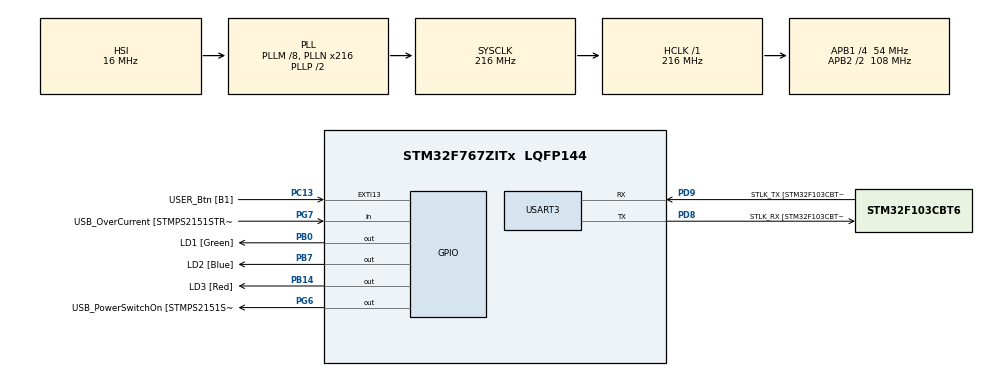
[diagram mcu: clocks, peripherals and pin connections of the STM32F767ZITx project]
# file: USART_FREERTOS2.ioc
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FREERTOS.Queues01=Queue1,16,queue_t,0,Dynamic,NULL,NULL;Queue2,16,queue_t,0,Dynamic,NULL,NULL;Queue3,16,queue_t,0,Dynamic,NULL,NULL
FREERTOS.Tasks01=defaultTask,24,128,StartDefaultTask,Default,NULL,Dynamic,NULL,NULL;Task1,8,128,StartTask1,Default,NULL,Dynamic,NULL,NULL;Task2,8,128,StartTask2,Default,NULL,Dynamic,NULL,NULL;Task3,8,128,StartTask3,Default,NULL,Dynamic,NULL,NULL;TaskReceive,8,128,StartTaskReceive,Default,NULL,Dynamic,NULL,NULL
Mcu.Family=STM32F7
Mcu.Name=STM32F767ZITx
Mcu.Package=LQFP144
NVIC.PriorityGroup=NVIC_PRIORITYGROUP_4
NVIC.TIM5_IRQn=true\:15\:0\:false\:false\:true\:false\:false\:true
NVIC.TimeBase=TIM5_IRQn
NVIC.TimeBaseIP=TIM5
NVIC.USART3_IRQn=true\:5\:0\:false\:false\:true\:true\:true\:true
PA1.GPIO_Label=RMII_REF_CLK [LAN8742A-CZ-TR_REFCLK0]
PA1.Signal=ETH_REF_CLK
PA10.GPIO_Label=USB_ID
PA10.Signal=USB_OTG_FS_ID
PA11.GPIO_Label=USB_DM
PA11.Signal=USB_OTG_FS_DM
PA12.GPIO_Label=USB_DP
PA12.Signal=USB_OTG_FS_DP
PA13.GPIO_Label=TMS
PA13.Mode=Serial_Wire
PA13.Signal=SYS_JTMS-SWDIO
PA14.GPIO_Label=TCK
PA14.Mode=Serial_Wire
PA14.Signal=SYS_JTCK-SWCLK
PA2.GPIO_Label=RMII_MDIO [LAN8742A-CZ-TR_MDIO]
PA2.Signal=ETH_MDIO
PA7.GPIO_Label=RMII_CRS_DV [LAN8742A-CZ-TR_CRS_DV]
PA7.Signal=ETH_CRS_DV
PA8.GPIO_Label=USB_SOF [TP1]
PA8.Signal=USB_OTG_FS_SOF
PA9.GPIO_Label=USB_VBUS
PA9.Signal=USB_OTG_FS_VBUS
PB0.GPIO_Label=LD1 [Green]
PB0.Signal=GPIO_Output
PB13.GPIO_Label=RMII_TXD1 [LAN8742A-CZ-TR_TXD1]
PB13.Signal=ETH_TXD1
PB14.GPIO_Label=LD3 [Red]
PB14.Signal=GPIO_Output
PB3.GPIO_Label=SW0
PB3.Signal=SYS_JTDO-SWO
PB7.GPIO_Label=LD2 [Blue]
PB7.Signal=GPIO_Output
PC1.GPIO_Label=RMII_MDC [LAN8742A-CZ-TR_MDC]
PC1.Signal=ETH_MDC
PC13.GPIO_Label=USER_Btn [B1]
PC13.Signal=GPXTI13
PC14/OSC32_IN.Signal=RCC_OSC32_IN
PC15/OSC32_OUT.Signal=RCC_OSC32_OUT
PC4.GPIO_Label=RMII_RXD0 [LAN8742A-CZ-TR_RXD0]
PC4.Signal=ETH_RXD0
PC5.GPIO_Label=RMII_RXD1 [LAN8742A-CZ-TR_RXD1]
PC5.Signal=ETH_RXD1
PD8.GPIO_Label=STLK_RX [STM32F103CBT6_PA3]
PD8.Mode=Asynchronous
PD8.Signal=USART3_TX
PD9.GPIO_Label=STLK_TX [STM32F103CBT6_PA2]
PD9.Mode=Asynchronous
PD9.Signal=USART3_RX
PG11.GPIO_Label=RMII_TX_EN [LAN8742A-CZ-TR_TXEN]
PG11.Signal=ETH_TX_EN
PG13.GPIO_Label=RMII_TXD0 [LAN8742A-CZ-TR_TXD0]
PG13.Signal=ETH_TXD0
PG6.GPIO_Label=USB_PowerSwitchOn [STMPS2151STR_EN]
PG6.Signal=GPIO_Output
PG7.GPIO_Label=USB_OverCurrent [STMPS2151STR_FAULT]
PG7.Signal=GPIO_Input
PH0/OSC_IN.GPIO_Label=MCO [STM32F103CBT6_PA8]
PH0/OSC_IN.Mode=HSE-External-Oscillator
PH0/OSC_IN.Signal=RCC_OSC_IN
PH1/OSC_OUT.Mode=HSE-External-Oscillator
PH1/OSC_OUT.Signal=RCC_OSC_OUT
ProjectManager.HeapSize=0x200
ProjectManager.StackSize=0x400
ProjectManager.TargetToolchain=STM32CubeIDE
RCC.48MHZClocksFreq_Value=24000000
RCC.AHBFreq_Value=216000000
RCC.APB1CLKDivider=RCC_HCLK_DIV4
RCC.APB1Freq_Value=54000000
RCC.APB1TimFreq_Value=108000000
RCC.APB2CLKDivider=RCC_HCLK_DIV2
RCC.APB2Freq_Value=108000000
RCC.APB2TimFreq_Value=216000000
RCC.CortexFreq_Value=216000000
RCC.HCLKFreq_Value=216000000
RCC.HSE_VALUE=16000000
RCC.HSI_VALUE=16000000
RCC.LSE_VALUE=32768
RCC.PLLM=8
RCC.PLLMUL=RCC_PLL_MUL9
RCC.PLLN=216
RCC.PRESCALERUSB=RCC_USBCLKSOURCE_PLL_DIV1_5
RCC.SYSCLKFreq_VALUE=216000000
RCC.SYSCLKSource=RCC_SYSCLKSOURCE_PLLCLK
RCC.SYSCLKSourceVirtual=RCC_SYSCLKSOURCE_PLLCLK
RCC.USBFreq_Value=216000000
RCC.VCOOutputFreq_Value=432000000
USART3.VirtualMode-Asynchronous=VM_ASYNC
VP_FREERTOS_VS_CMSIS_V2.Mode=CMSIS_V2
VP_SYS_VS_tim5.Mode=TIM5
board=NUCLEO-F767ZI

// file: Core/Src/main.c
/* USER CODE BEGIN Header */
/**
  ******************************************************************************
  * @file           : main.c
  * @brief          : Main program body
  ******************************************************************************
  * @attention
  *
  * Copyright (c) 2022 STMicroelectronics.
  * All rights reserved.
  *
  * This software is licensed under terms that can be found in the LICENSE file
  * in the root directory of this software component.
  * If no LICENSE file comes with this software, it is provided AS-IS.
  *
  ******************************************************************************
  */
/* USER CODE END Header */
#include "main.h"
#include "cmsis_os.h"

/* USER CODE BEGIN Includes */
#include "ctype.h"
#include "string.h"
/* USER CODE END Includes */

/* USER CODE BEGIN PTD */
typedef struct
{
    char Buf[5];
} queue_t;
/* USER CODE END PTD */

UART_HandleTypeDef huart3;

/* Definitions for defaultTask */
osThreadId_t defaultTaskHandle;
const osThreadAttr_t defaultTask_attributes = {
  .name = "defaultTask",
  .stack_size = 128 * 4,
  .priority = (osPriority_t) osPriorityNormal,
};
/* Definitions for Task1 */
osThreadId_t Task1Handle;
const osThreadAttr_t Task1_attributes = {
  .name = "Task1",
  .stack_size = 128 * 4,
  .priority = (osPriority_t) osPriorityLow,
};
/* Definitions for Task2 */
osThreadId_t Task2Handle;
const osThreadAttr_t Task2_attributes = {
  .name = "Task2",
  .stack_size = 128 * 4,
  .priority = (osPriority_t) osPriorityLow,
};
/* Definitions for Task3 */
osThreadId_t Task3Handle;
const osThreadAttr_t Task3_attributes = {
  .name = "Task3",
  .stack_size = 128 * 4,
  .priority = (osPriority_t) osPriorityLow,
};
/* Definitions for TaskReceive */
osThreadId_t TaskReceiveHandle;
const osThreadAttr_t TaskReceive_attributes = {
  .name = "TaskReceive",
  .stack_size = 128 * 4,
  .priority = (osPriority_t) osPriorityLow,
};
/* Definitions for Queue1 */
osMessageQueueId_t Queue1Handle;
const osMessageQueueAttr_t Queue1_attributes = {
  .name = "Queue1"
};
/* Definitions for Queue2 */
osMessageQueueId_t Queue2Handle;
const osMessageQueueAttr_t Queue2_attributes = {
  .name = "Queue2"
};
/* Definitions for Queue3 */
osMessageQueueId_t Queue3Handle;
const osMessageQueueAttr_t Queue3_attributes = {
  .name = "Queue3"
};
/* USER CODE BEGIN PV */
char buf[5] = {0,};
uint8_t flag = 0;
/* USER CODE END PV */

void SystemClock_Config(void);
static void MX_GPIO_Init(void);
static void MX_USART3_UART_Init(void);
void StartDefaultTask(void *argument);
void StartTask1(void *argument);
void StartTask2(void *argument);
void StartTask3(void *argument);
void StartTaskReceive(void *argument);

/* USER CODE BEGIN 0 */
void HAL_UART_RxCpltCallback(UART_HandleTypeDef *huart)
{
    if (huart == &huart3)
      flag = 1;
}
/* USER CODE END 0 */

int main(void)
{

  /* MCU Configuration--------------------------------------------------------*/

  /* Reset of all peripherals, Initializes the Flash interface and the Systick. */
  HAL_Init();

  /* Configure the system clock */
  SystemClock_Config();

  /* Initialize all configured peripherals */
  MX_GPIO_Init();
  MX_USART3_UART_Init();

  /* Init scheduler */
  osKernelInitialize();

  /* Create the queue(s) */
  /* creation of Queue1 */
  Queue1Handle = osMessageQueueNew (16, sizeof(queue_t), &Queue1_attributes);

  /* creation of Queue2 */
  Queue2Handle = osMessageQueueNew (16, sizeof(queue_t), &Queue2_attributes);

  /* creation of Queue3 */
  Queue3Handle = osMessageQueueNew (16, sizeof(queue_t), &Queue3_attributes);

  /* Create the thread(s) */
  /* creation of defaultTask */
  defaultTaskHandle = osThreadNew(StartDefaultTask, NULL, &defaultTask_attributes);

  /* creation of Task1 */
  Task1Handle = osThreadNew(StartTask1, NULL, &Task1_attributes);

  /* creation of Task2 */
  Task2Handle = osThreadNew(StartTask2, NULL, &Task2_attributes);

  /* creation of Task3 */
  Task3Handle = osThreadNew(StartTask3, NULL, &Task3_attributes);

  /* creation of TaskReceive */
  TaskReceiveHandle = osThreadNew(StartTaskReceive, NULL, &TaskReceive_attributes);

  /* Start scheduler */
  osKernelStart();

  /* We should never get here as control is now taken by the scheduler */
  /* Infinite loop */
  while (1)
  {

  }
}

void SystemClock_Config(void)
{
  RCC_OscInitTypeDef RCC_OscInitStruct = {0};
  RCC_ClkInitTypeDef RCC_ClkInitStruct = {0};

  /** Configure the main internal regulator output voltage
  */
  __HAL_RCC_PWR_CLK_ENABLE();
  __HAL_PWR_VOLTAGESCALING_CONFIG(PWR_REGULATOR_VOLTAGE_SCALE1);
  /** Initializes the RCC Oscillators according to the specified parameters
  * in the RCC_OscInitTypeDef structure.
  */
  RCC_OscInitStruct.OscillatorType = RCC_OSCILLATORTYPE_HSI;
  RCC_OscInitStruct.HSIState = RCC_HSI_ON;
  RCC_OscInitStruct.HSICalibrationValue = RCC_HSICALIBRATION_DEFAULT;
  RCC_OscInitStruct.PLL.PLLState = RCC_PLL_ON;
  RCC_OscInitStruct.PLL.PLLSource = RCC_PLLSOURCE_HSI;
  RCC_OscInitStruct.PLL.PLLM = 8;
  RCC_OscInitStruct.PLL.PLLN = 216;
  RCC_OscInitStruct.PLL.PLLP = RCC_PLLP_DIV2;
  RCC_OscInitStruct.PLL.PLLQ = 2;
  RCC_OscInitStruct.PLL.PLLR = 2;
  if (HAL_RCC_OscConfig(&RCC_OscInitStruct) != HAL_OK)
  {
    Error_Handler();
  }
  /** Activate the Over-Drive mode
  */
  if (HAL_PWREx_EnableOverDrive() != HAL_OK)
  {
    Error_Handler();
  }
  /** Initializes the CPU, AHB and APB buses clocks
  */
  RCC_ClkInitStruct.ClockType = RCC_CLOCKTYPE_HCLK|RCC_CLOCKTYPE_SYSCLK
                              |RCC_CLOCKTYPE_PCLK1|RCC_CLOCKTYPE_PCLK2;
  RCC_ClkInitStruct.SYSCLKSource = RCC_SYSCLKSOURCE_PLLCLK;
  RCC_ClkInitStruct.AHBCLKDivider = RCC_SYSCLK_DIV1;
  RCC_ClkInitStruct.APB1CLKDivider = RCC_HCLK_DIV4;
  RCC_ClkInitStruct.APB2CLKDivider = RCC_HCLK_DIV2;

  if (HAL_RCC_ClockConfig(&RCC_ClkInitStruct, FLASH_LATENCY_7) != HAL_OK)
  {
    Error_Handler();
  }
}

static void MX_USART3_UART_Init(void)
{

  huart3.Instance = USART3;
  huart3.Init.BaudRate = 115200;
  huart3.Init.WordLength = UART_WORDLENGTH_8B;
  huart3.Init.StopBits = UART_STOPBITS_1;
  huart3.Init.Parity = UART_PARITY_NONE;
  huart3.Init.Mode = UART_MODE_TX_RX;
  huart3.Init.HwFlowCtl = UART_HWCONTROL_NONE;
  huart3.Init.OverSampling = UART_OVERSAMPLING_16;
  huart3.Init.OneBitSampling = UART_ONE_BIT_SAMPLE_DISABLE;
  huart3.AdvancedInit.AdvFeatureInit = UART_ADVFEATURE_NO_INIT;
  if (HAL_UART_Init(&huart3) != HAL_OK)
  {
    Error_Handler();
  }

}

static void MX_GPIO_Init(void)
{
  GPIO_InitTypeDef GPIO_InitStruct = {0};

  /* GPIO Ports Clock Enable */
  __HAL_RCC_GPIOC_CLK_ENABLE();
  __HAL_RCC_GPIOH_CLK_ENABLE();
  __HAL_RCC_GPIOA_CLK_ENABLE();
  __HAL_RCC_GPIOB_CLK_ENABLE();
  __HAL_RCC_GPIOD_CLK_ENABLE();
  __HAL_RCC_GPIOG_CLK_ENABLE();

  /*Configure GPIO pin Output Level */
  HAL_GPIO_WritePin(GPIOB, LD1_Pin|LD3_Pin|LD2_Pin, GPIO_PIN_RESET);

  /*Configure GPIO pin Output Level */
  HAL_GPIO_WritePin(USB_PowerSwitchOn_GPIO_Port, USB_PowerSwitchOn_Pin, GPIO_PIN_RESET);

  /*Configure GPIO pin : USER_Btn_Pin */
  GPIO_InitStruct.Pin = USER_Btn_Pin;
  GPIO_InitStruct.Mode = GPIO_MODE_IT_RISING;
  GPIO_InitStruct.Pull = GPIO_NOPULL;
  HAL_GPIO_Init(USER_Btn_GPIO_Port, &GPIO_InitStruct);

  /*Configure GPIO pins : RMII_MDC_Pin RMII_RXD0_Pin RMII_RXD1_Pin */
  GPIO_InitStruct.Pin = RMII_MDC_Pin|RMII_RXD0_Pin|RMII_RXD1_Pin;
  GPIO_InitStruct.Mode = GPIO_MODE_AF_PP;
  GPIO_InitStruct.Pull = GPIO_NOPULL;
  GPIO_InitStruct.Speed = GPIO_SPEED_FREQ_VERY_HIGH;
  GPIO_InitStruct.Alternate = GPIO_AF11_ETH;
  HAL_GPIO_Init(GPIOC, &GPIO_InitStruct);

  /*Configure GPIO pins : RMII_REF_CLK_Pin RMII_MDIO_Pin RMII_CRS_DV_Pin */
  GPIO_InitStruct.Pin = RMII_REF_CLK_Pin|RMII_MDIO_Pin|RMII_CRS_DV_Pin;
  GPIO_InitStruct.Mode = GPIO_MODE_AF_PP;
  GPIO_InitStruct.Pull = GPIO_NOPULL;
  GPIO_InitStruct.Speed = GPIO_SPEED_FREQ_VERY_HIGH;
  GPIO_InitStruct.Alternate = GPIO_AF11_ETH;
  HAL_GPIO_Init(GPIOA, &GPIO_InitStruct);

  /*Configure GPIO pins : LD1_Pin LD3_Pin LD2_Pin */
  GPIO_InitStruct.Pin = LD1_Pin|LD3_Pin|LD2_Pin;
  GPIO_InitStruct.Mode = GPIO_MODE_OUTPUT_PP;
  GPIO_InitStruct.Pull = GPIO_NOPULL;
  GPIO_InitStruct.Speed = GPIO_SPEED_FREQ_LOW;
  HAL_GPIO_Init(GPIOB, &GPIO_InitStruct);

  /*Configure GPIO pin : RMII_TXD1_Pin */
  GPIO_InitStruct.Pin = RMII_TXD1_Pin;
  GPIO_InitStruct.Mode = GPIO_MODE_AF_PP;
  GPIO_InitStruct.Pull = GPIO_NOPULL;
  GPIO_InitStruct.Speed = GPIO_SPEED_FREQ_VERY_HIGH;
  GPIO_InitStruct.Alternate = GPIO_AF11_ETH;
  HAL_GPIO_Init(RMII_TXD1_GPIO_Port, &GPIO_InitStruct);

  /*Configure GPIO pin : USB_PowerSwitchOn_Pin */
  GPIO_InitStruct.Pin = USB_PowerSwitchOn_Pin;
  GPIO_InitStruct.Mode = GPIO_MODE_OUTPUT_PP;
  GPIO_InitStruct.Pull = GPIO_NOPULL;
  GPIO_InitStruct.Speed = GPIO_SPEED_FREQ_LOW;
  HAL_GPIO_Init(USB_PowerSwitchOn_GPIO_Port, &GPIO_InitStruct);

  /*Configure GPIO pin : USB_OverCurrent_Pin */
  GPIO_InitStruct.Pin = USB_OverCurrent_Pin;
  GPIO_InitStruct.Mode = GPIO_MODE_INPUT;
  GPIO_InitStruct.Pull = GPIO_NOPULL;
  HAL_GPIO_Init(USB_OverCurrent_GPIO_Port, &GPIO_InitStruct);

  /*Configure GPIO pins : USB_SOF_Pin USB_ID_Pin USB_DM_Pin USB_DP_Pin */
  GPIO_InitStruct.Pin = USB_SOF_Pin|USB_ID_Pin|USB_DM_Pin|USB_DP_Pin;
  GPIO_InitStruct.Mode = GPIO_MODE_AF_PP;
  GPIO_InitStruct.Pull = GPIO_NOPULL;
  GPIO_InitStruct.Speed = GPIO_SPEED_FREQ_VERY_HIGH;
  GPIO_InitStruct.Alternate = GPIO_AF10_OTG_FS;
  HAL_GPIO_Init(GPIOA, &GPIO_InitStruct);

  /*Configure GPIO pin : USB_VBUS_Pin */
  GPIO_InitStruct.Pin = USB_VBUS_Pin;
  GPIO_InitStruct.Mode = GPIO_MODE_INPUT;
  GPIO_InitStruct.Pull = GPIO_NOPULL;
  HAL_GPIO_Init(USB_VBUS_GPIO_Port, &GPIO_InitStruct);

  /*Configure GPIO pins : RMII_TX_EN_Pin RMII_TXD0_Pin */
  GPIO_InitStruct.Pin = RMII_TX_EN_Pin|RMII_TXD0_Pin;
  GPIO_InitStruct.Mode = GPIO_MODE_AF_PP;
  GPIO_InitStruct.Pull = GPIO_NOPULL;
  GPIO_InitStruct.Speed = GPIO_SPEED_FREQ_VERY_HIGH;
  GPIO_InitStruct.Alternate = GPIO_AF11_ETH;
  HAL_GPIO_Init(GPIOG, &GPIO_InitStruct);

}

void StartDefaultTask(void *argument)
{
  for(;;)
  {
    osDelay(1);
  }
}

void StartTask1(void *argument)
{
  /* USER CODE BEGIN StartTask1 */
    queue_t pocket;
  /* Infinite loop */
  for(;;)
  {
    osMessageQueueGet(Queue1Handle, &pocket, 0, osWaitForever);
    HAL_UART_Transmit_IT(&huart3, (uint8_t*)pocket.Buf, 4);
    osDelay(1);
  }
  /* USER CODE END StartTask1 */
}

void StartTask2(void *argument)
{
  /* USER CODE BEGIN StartTask2 */
	queue_t pocket;
  /* Infinite loop */
  for(;;)
  {
    osMessageQueueGet(Queue2Handle, &pocket, 0, osWaitForever);
    for (size_t i = 0; i < 4; ++i)
      pocket.Buf[i] = toupper(pocket.Buf[i]);
    HAL_UART_Transmit_IT(&huart3, (uint8_t*)pocket.Buf, 4);
    osDelay(1);
  }
  /* USER CODE END StartTask2 */
}

void StartTask3(void *argument)
{
  /* USER CODE BEGIN StartTask3 */
    queue_t pocket;
  /* Infinite loop */
  for(;;)
  {
    osMessageQueueGet(Queue3Handle, &pocket, 0, osWaitForever);
    for (size_t i = 0; i < 4; ++i)
      pocket.Buf[i] = tolower(pocket.Buf[i]);
    HAL_UART_Transmit_IT(&huart3, (uint8_t*)pocket.Buf, 4);
    osDelay(1);
  }
  /* USER CODE END StartTask3 */
}

void StartTaskReceive(void *argument)
{
  /* USER CODE BEGIN StartTaskReceive */
  /* Infinite loop */
  for(;;)
  {
    HAL_UART_Receive_IT(&huart3, (uint8_t*)buf, 5);

    if (flag)
    {
        queue_t pocket;
        strcpy(pocket.Buf, buf + 1);

        switch (buf[0])
        {
            case '1' :
                osMessageQueuePut(Queue1Handle, &pocket, 0, osWaitForever);
                break;

            case '2' :
                osMessageQueuePut(Queue2Handle, &pocket, 0, osWaitForever);
                break;

            case '3' :
                osMessageQueuePut(Queue3Handle, &pocket, 0, osWaitForever);
                break;
        }

        flag = 0;
    }

    osDelay(1);
  }
  /* USER CODE END StartTaskReceive */
}

void HAL_TIM_PeriodElapsedCallback(TIM_HandleTypeDef *htim)
{
  if (htim->Instance == TIM5) {
    HAL_IncTick();
  }
}

void Error_Handler(void)
{
  __disable_irq();
  while (1)
  {
  }
}
